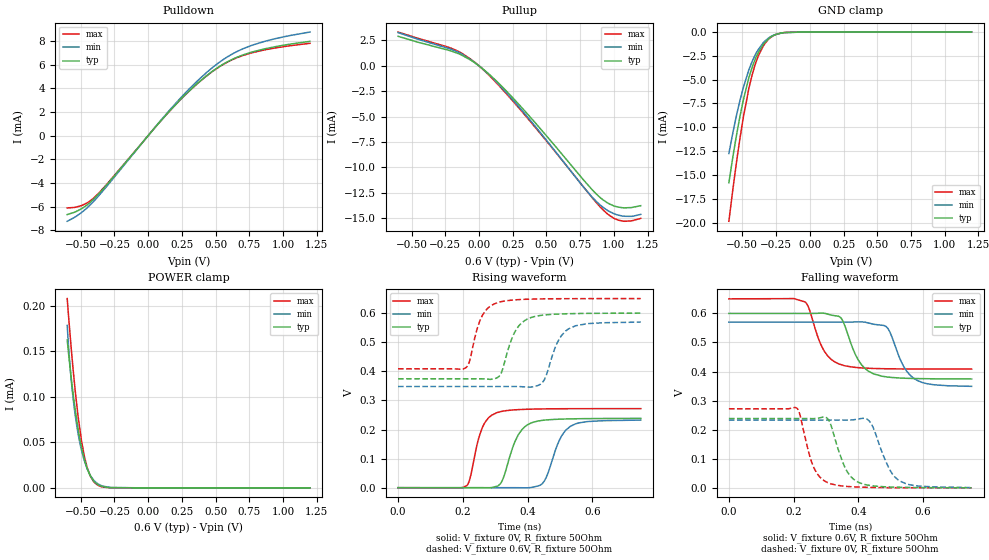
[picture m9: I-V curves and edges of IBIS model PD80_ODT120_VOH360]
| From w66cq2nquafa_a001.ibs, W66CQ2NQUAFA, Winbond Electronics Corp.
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[Model]   PD80_ODT120_VOH360
Model_type   I/O
Polarity   Non-Inverting
Enable   Active-Low
Vinl = 0.11
Vinh = 0.25
Vmeas = 0.18
Vref = 0
Cref = 0pF
Rref = 120
|   typ   min   max
C_comp   0.85pF   0.80pF   0.90pF
[Voltage Range]   0.6   0.57   0.65
[Temperature Range]   25   95   -40
[Pullup Reference]   0.6   0.57   0.65
[Pulldown Reference]   0   0   0
[Power Clamp Reference]   0.6   0.57   0.65
[GND Clamp Reference]   0   0   0
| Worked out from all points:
|   slope of the pulldown table from 0 to 0.09 V, typ, clamps not added: 74.8 ohm
|   slope of the pullup table from 0 to 0.09 V, typ, clamps not added: 89.1 ohm
|   GND clamp passes 1 mA (typ) near -0.33 V on its own axis
|   falling waveform, V_fixture 0.6V, R_fixture 50Ohm: 20-80 % time 53.9ps typ, 54.1ps min, 51.2ps max; typ from 0.6 V to 0.374 V
|   rising waveform, V_fixture 0V, R_fixture 50Ohm: 20-80 % time 47.3ps typ, 48.3ps min, 38.1ps max; typ from 0 V to 0.238 V
|   rising waveform, V_fixture 0.6V, R_fixture 50Ohm: 20-80 % time 45.9ps typ, 46.9ps min, 40.7ps max; typ from 0.374 V to 0.6 V
|   falling waveform, V_fixture 0V, R_fixture 50Ohm: 20-80 % time 48.2ps typ, 52.2ps min, 43.2ps max; typ from 0.238 V to 0 V
[Pulldown]
|   Voltage   I(typ)   I(min)   I(max)
-600mV    -6.681mA   -7.249mA   -6.124mA
-493.4mV  -6.189mA   -6.509mA   -5.919mA
-399.9mV  -5.333mA   -5.516mA   -5.239mA
-306.9mV  -4.162mA   -4.291mA   -4.12mA
66.9mV    901.1uA    929.3uA    899.2uA
209.9mV   2.704mA    2.808mA    2.698mA
371.9mV   4.488mA    4.707mA    4.472mA
510.2mV   5.721mA    6.062mA    5.697mA
624mV     6.466mA    6.917mA    6.435mA
774.8mV   7.095mA    7.673mA    7.033mA
951.5mV   7.553mA    8.236mA    7.446mA
1.2V      7.988mA    8.776mA    7.822mA
[GND Clamp]
|   Voltage   I(typ)   I(min)   I(max)
-600mV    -15.82mA   -12.76mA   -19.87mA
-551.4mV  -11.49mA   -9.267mA   -14.5mA
-519.4mV  -8.988mA   -7.275mA   -11.32mA
-492.8mV  -7.149mA   -5.829mA   -8.959mA
-451.8mV  -4.807mA   -3.967mA   -5.923mA
-427.3mV  -3.691mA   -3.078mA   -4.48mA
-382.2mV  -2.17mA    -1.845mA   -2.517mA
-336.7mV  -1.153mA   -1.002mA   -1.28mA
-287.3mV  -494.6uA   -465.8uA   -535.7uA
-256.3mV  -274.3uA   -273.5uA   -275.2uA
-184.7mV  -54.13uA   -63.33uA   -39.48uA
1.2V      0A         0A         0A
[Pullup]
|   Voltage   I(typ)   I(min)   I(max)
-600mV    2.903mA    3.266mA    3.32mA
-200.4mV  1.43mA     1.599mA    1.701mA
-33.2mV   318.7uA    341.3uA    372.8uA
84.45mV   -941.8uA   -999.6uA   -1.067mA
228.1mV   -2.828mA   -2.999mA   -3.118mA
443.4mV   -6.007mA   -6.381mA   -6.476mA
774.8mV   -11.22mA   -11.93mA   -11.91mA
899.7mV   -12.97mA   -13.71mA   -13.89mA
971.7mV   -13.62mA   -14.37mA   -14.76mA
1.03V     -13.89mA   -14.68mA   -15.17mA
1.128V    -13.95mA   -14.81mA   -15.26mA
1.2V      -13.76mA   -14.62mA   -15.01mA
[POWER Clamp]
|   Voltage   I(typ)   I(min)   I(max)
-600mV    162.4uA    178.3uA    207.7uA
-590.3mV  148uA      155.5uA    189uA
-577.8mV  130.7uA    131.2uA    166.2uA
-556.8mV  104.1uA    99.05uA    130.8uA
-529.3mV  74.3uA     68.38uA    91.5uA
-493.4mV  43.92uA    40.98uA    50.97uA
-470.7mV  29.9uA     28.76uA    33.05uA
-451.8mV  21.07uA    20.73uA    22.19uA
-427.1mV  12.73uA    13.24uA    12.48uA
-382.2mV  4.666uA    5.522uA    3.721uA
-277.9mV  200nA      402.9nA    59.14nA
1.2V      0A         0A         0A
[Ramp]
R_load = 50
|   typ   min   max
dV/dt_r 1.4295E-01/4.6824E-11   1.3944E-01/4.8233E-11   1.6308E-01/3.8073E-11
dV/dt_f 1.3532E-01/5.3566E-11   1.3253E-01/5.4132E-11   1.4483E-01/5.1091E-11
[Falling Waveform]
V_fixture = 0.6V
V_fixture_min = 0.57V
V_fixture_max = 0.65V
R_fixture = 50Ohm
C_fixture = 0F
|   Time   V(typ)   V(min)   V(max)
0s        600mV      570mV      650mV
235ps     600mV      570mV      639.8mV
290ps     600.9mV    570mV      479.9mV
340ps     589.8mV    570mV      426.2mV
410ps     423.1mV    570.9mV    412.7mV
480ps     382.8mV    558.2mV    409.8mV
498ps     380.3mV    534.8mV    409.5mV
540ps     377.2mV    417.6mV    409mV
572ps     376.2mV    376.1mV    408.8mV
750ps     374.5mV    349.1mV    408.6mV
[Rising Waveform]
V_fixture = 0V
V_fixture_min = 0V
V_fixture_max = 0V
R_fixture = 50Ohm
C_fixture = 0F
|   Time   V(typ)   V(min)   V(max)
0s        6.127uV    20.22uV    1.206uV
213ps     5.964uV    20.22uV    7.747mV
260ps     -81.22uV   20.31uV    205.3mV
305ps     4.843mV    19.67uV    257.8mV
371ps     180.9mV    -60.2uV    268.3mV
410ps     221.9mV    518.4uV    269.9mV
452ps     232.2mV    22.97mV    270.9mV
499ps     235.5mV    164.2mV    271.4mV
532ps     236.5mV    210.5mV    271.6mV
750ps     238.3mV    232.4mV    271.8mV
[Rising Waveform]
V_fixture = 0.6V
V_fixture_min = 0.57V
V_fixture_max = 0.65V
R_fixture = 50Ohm
C_fixture = 0F
|   Time   V(typ)   V(min)   V(max)
0s        374.3mV    347.8mV    408.6mV
208ps     374.3mV    347.8mV    411.4mV
261ps     374.2mV    347.8mV    593mV
314ps     385.4mV    347.8mV    638.1mV
360ps     533.5mV    347.9mV    645.6mV
400ps     580.1mV    345.9mV    647.8mV
446ps     593mV      361.2mV    649.1mV
492ps     596.8mV    498.4mV    649.6mV
527ps     598.1mV    546.1mV    649.8mV
750ps     599.9mV    569.2mV    650mV
[Falling Waveform]
|Gnd
V_fixture = 0V
V_fixture_min = 0V
V_fixture_max = 0V
R_fixture = 50Ohm
C_fixture = 0F
|   Time   V(typ)   V(min)   V(max)
0s        238.4mV    233.3mV    271.8mV
210ps     238.4mV    233.3mV    274.2mV
261ps     238.1mV    233.3mV    73.32mV
315ps     216.3mV    233.3mV    13.88mV
360ps     67.12mV    233mV      5.268mV
400ps     19.16mV    236.8mV    2.705mV
440ps     7.483mV    220.4mV    1.427mV
492ps     3.14mV     73.49mV    611.9uV
526ps     2.021mV    24.62mV    352.3uV
750ps     125.2uV    938uV      -10.25uV
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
